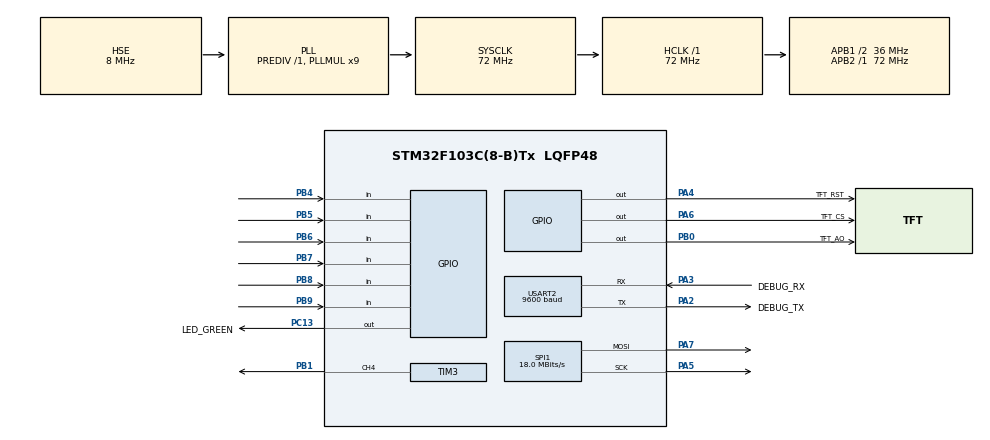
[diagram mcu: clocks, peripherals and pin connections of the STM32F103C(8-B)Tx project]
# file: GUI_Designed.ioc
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Mcu.Family=STM32F1
Mcu.Name=STM32F103C(8-B)Tx
Mcu.Package=LQFP48
NVIC.PriorityGroup=NVIC_PRIORITYGROUP_4
PA13.Mode=Serial_Wire
PA13.Signal=SYS_JTMS-SWDIO
PA14.Mode=Serial_Wire
PA14.Signal=SYS_JTCK-SWCLK
PA2.GPIO_Label=DEBUG_TX
PA2.Mode=Asynchronous
PA2.Signal=USART2_TX
PA3.GPIO_Label=DEBUG_RX
PA3.Mode=Asynchronous
PA3.Signal=USART2_RX
PA4.GPIO_Label=TFT_RST
PA4.GPIO_Speed=GPIO_SPEED_FREQ_HIGH
PA4.Signal=GPIO_Output
PA5.Mode=TX_Only_Simplex_Unidirect_Master
PA5.Signal=SPI1_SCK
PA6.GPIO_Label=TFT_CS
PA6.GPIO_Speed=GPIO_SPEED_FREQ_HIGH
PA6.Signal=GPIO_Output
PA7.Mode=TX_Only_Simplex_Unidirect_Master
PA7.Signal=SPI1_MOSI
PB0.GPIO_Label=TFT_AO
PB0.GPIO_Speed=GPIO_SPEED_FREQ_HIGH
PB0.Signal=GPIO_Output
PB1.Signal=S_TIM3_CH4
PB4.GPIO_PuPd=GPIO_NOPULL
PB4.Signal=GPIO_Input
PB5.GPIO_PuPd=GPIO_NOPULL
PB5.Signal=GPIO_Input
PB6.GPIO_PuPd=GPIO_NOPULL
PB6.Signal=GPIO_Input
PB7.GPIO_PuPd=GPIO_NOPULL
PB7.Signal=GPIO_Input
PB8.GPIO_PuPd=GPIO_NOPULL
PB8.Signal=GPIO_Input
PB9.GPIO_PuPd=GPIO_NOPULL
PB9.Signal=GPIO_Input
PC13-TAMPER-RTC.GPIO_Label=LED_GREEN
PC13-TAMPER-RTC.GPIO_Speed=GPIO_SPEED_FREQ_HIGH
PC13-TAMPER-RTC.Signal=GPIO_Output
PC14-OSC32_IN.Mode=LSE-External-Oscillator
PC14-OSC32_IN.Signal=RCC_OSC32_IN
PC15-OSC32_OUT.Mode=LSE-External-Oscillator
PC15-OSC32_OUT.Signal=RCC_OSC32_OUT
PD0-OSC_IN.Mode=HSE-External-Oscillator
PD0-OSC_IN.Signal=RCC_OSC_IN
PD1-OSC_OUT.Mode=HSE-External-Oscillator
PD1-OSC_OUT.Signal=RCC_OSC_OUT
ProjectManager.HeapSize=0x200
ProjectManager.StackSize=0x400
ProjectManager.TargetToolchain=MDK-ARM V5
RCC.ADCPresc=RCC_ADCPCLK2_DIV6
RCC.AHBFreq_Value=72000000
RCC.APB1CLKDivider=RCC_HCLK_DIV2
RCC.APB1Freq_Value=36000000
RCC.APB1TimFreq_Value=72000000
RCC.APB2Freq_Value=72000000
RCC.APB2TimFreq_Value=72000000
RCC.HCLKFreq_Value=72000000
RCC.PLLMUL=RCC_PLL_MUL9
RCC.PLLSourceVirtual=RCC_PLLSOURCE_HSE
RCC.SYSCLKFreq_VALUE=72000000
RCC.SYSCLKSource=RCC_SYSCLKSOURCE_PLLCLK
RCC.USBFreq_Value=48000000
RCC.USBPrescaler=RCC_USBCLKSOURCE_PLL_DIV1_5
SH.S_TIM3_CH4.0=TIM3_CH4,PWM Generation4 CH4
SPI1.BaudRatePrescaler=SPI_BAUDRATEPRESCALER_4
SPI1.CLKPhase=SPI_PHASE_1EDGE
SPI1.CLKPolarity=SPI_POLARITY_HIGH
SPI1.CalculateBaudRate=18.0 MBits/s
SPI1.Direction=SPI_DIRECTION_2LINES
SPI1.Mode=SPI_MODE_MASTER
SPI1.VirtualType=VM_MASTER
TIM3.Channel-PWM\ Generation4\ CH4=TIM_CHANNEL_4
TIM3.Period=11
TIM3.Prescaler=65535
TIM3.Pulse-PWM\ Generation4\ CH4=11
USART2.BaudRate=9600
USART2.VirtualMode=VM_ASYNC
VP_CRC_VS_CRC.Mode=CRC_Activate
VP_TIM3_VS_ClockSourceINT.Mode=Internal
board=GUI_Designed

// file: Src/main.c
/**
  ******************************************************************************
  * @file           : main.c
  * @brief          : Main program body
  ******************************************************************************
  ** This notice applies to any and all portions of this file
  * that are not between comment pairs USER CODE BEGIN and
  * USER CODE END. Other portions of this file, whether
  * inserted by the user or by software development tools
  * are owned by their respective copyright owners.
  *
  * COPYRIGHT(c) 2018 STMicroelectronics
  *
  * Redistribution and use in source and binary forms, with or without modification,
  * are permitted provided that the following conditions are met:
  *   1. Redistributions of source code must retain the above copyright notice,
  *      this list of conditions and the following disclaimer.
  *   2. Redistributions in binary form must reproduce the above copyright notice,
  *      this list of conditions and the following disclaimer in the documentation
  *      and/or other materials provided with the distribution.
  *   3. Neither the name of STMicroelectronics nor the names of its contributors
  *      may be used to endorse or promote products derived from this software
  *      without specific prior written permission.
  *
  * THIS SOFTWARE IS PROVIDED BY THE COPYRIGHT HOLDERS AND CONTRIBUTORS "AS IS"
  * AND ANY EXPRESS OR IMPLIED WARRANTIES, INCLUDING, BUT NOT LIMITED TO, THE
  * IMPLIED WARRANTIES OF MERCHANTABILITY AND FITNESS FOR A PARTICULAR PURPOSE ARE
  * DISCLAIMED. IN NO EVENT SHALL THE COPYRIGHT HOLDER OR CONTRIBUTORS BE LIABLE
  * FOR ANY DIRECT, INDIRECT, INCIDENTAL, SPECIAL, EXEMPLARY, OR CONSEQUENTIAL
  * DAMAGES (INCLUDING, BUT NOT LIMITED TO, PROCUREMENT OF SUBSTITUTE GOODS OR
  * SERVICES; LOSS OF USE, DATA, OR PROFITS; OR BUSINESS INTERRUPTION) HOWEVER
  * CAUSED AND ON ANY THEORY OF LIABILITY, WHETHER IN CONTRACT, STRICT LIABILITY,
  * OR TORT (INCLUDING NEGLIGENCE OR OTHERWISE) ARISING IN ANY WAY OUT OF THE USE
  * OF THIS SOFTWARE, EVEN IF ADVISED OF THE POSSIBILITY OF SUCH DAMAGE.
  *
  ******************************************************************************
  */
#include "main.h"
#include "stm32f1xx_hal.h"

/* USER CODE BEGIN Includes */
#include "GUI.h"
#include "DIALOG.h"
#include "BSP_Button.h"

/* USER CODE END Includes */

CRC_HandleTypeDef hcrc;
SPI_HandleTypeDef hspi1;
TIM_HandleTypeDef htim3;
UART_HandleTypeDef huart2;
/* USER CODE BEGIN PV */
/* Private variables ---------------------------------------------------------*/

extern GUI_CONST_STORAGE GUI_BITMAP bmSTLogo;
extern GUI_CONST_STORAGE GUI_BITMAP bmSTMLogo;
extern GUI_CONST_STORAGE GUI_BITMAP bmSTM32F1Logo;
/*
extern GUI_CONST_STORAGE GUI_BITMAP bmCOD;
extern GUI_CONST_STORAGE GUI_BITMAP bmAndroidLogo;
*/
/* USER CODE END PV */

void SystemClock_Config(void);
static void MX_GPIO_Init(void);
static void MX_CRC_Init(void);
static void MX_SPI1_Init(void);
static void MX_TIM3_Init(void);
static void MX_USART2_UART_Init(void);

void HAL_TIM_MspPostInit(TIM_HandleTypeDef *htim);

/* USER CODE BEGIN PFP */
/* Private function prototypes -----------------------------------------------*/

/* USER CODE END PFP */

int main(void)
{

  /* MCU Configuration----------------------------------------------------------*/

  /* Reset of all peripherals, Initializes the Flash interface and the Systick. */
  HAL_Init();

  /* Configure the system clock */
  SystemClock_Config();

  /* Initialize all configured peripherals */
  MX_GPIO_Init();
  MX_CRC_Init();
  MX_SPI1_Init();
  MX_TIM3_Init();
  MX_USART2_UART_Init();
  /* USER CODE BEGIN 2 */
    HAL_TIM_Base_Start(&htim3);
    HAL_TIM_PWM_Start(&htim3,TIM_CHANNEL_4);

    __HAL_RCC_CRC_CLK_ENABLE();
    GUI_Init();
    GUI_SetBkColor(GUI_WHITE);
    GUI_SetColor(GUI_BLACK);
    GUI_Clear();

  /* USER CODE END 2 */

  /* Infinite loop */
  while (1)
  {

  /* USER CODE BEGIN 3 */

    GUI_DrawBitmapMag(&bmSTLogo,0,0,1,1);
    HAL_Delay(5000);
    GUI_DrawBitmapMag(&bmSTMLogo,0,0,1,1);
    HAL_Delay(5000);
    GUI_DrawBitmapMag(&bmSTM32F1Logo,0,0,1,1);
    HAL_Delay(5000);
/*
    GUI_DrawBitmapMag(&bmAndroidLogo,0,0,2,2);
    GUI_Delay(5000);
    GUI_DrawBitmapMag(&bmCOD,0,0,2,2);
    HAL_Delay(5000);
*/

  }
  /* USER CODE END 3 */

}

void SystemClock_Config(void)
{

  RCC_OscInitTypeDef RCC_OscInitStruct;
  RCC_ClkInitTypeDef RCC_ClkInitStruct;

    /**Initializes the CPU, AHB and APB busses clocks
    */
  RCC_OscInitStruct.OscillatorType = RCC_OSCILLATORTYPE_HSE;
  RCC_OscInitStruct.HSEState = RCC_HSE_ON;
  RCC_OscInitStruct.HSEPredivValue = RCC_HSE_PREDIV_DIV1;
  RCC_OscInitStruct.HSIState = RCC_HSI_ON;
  RCC_OscInitStruct.PLL.PLLState = RCC_PLL_ON;
  RCC_OscInitStruct.PLL.PLLSource = RCC_PLLSOURCE_HSE;
  RCC_OscInitStruct.PLL.PLLMUL = RCC_PLL_MUL9;
  if (HAL_RCC_OscConfig(&RCC_OscInitStruct) != HAL_OK)
  {
    _Error_Handler(__FILE__, __LINE__);
  }

    /**Initializes the CPU, AHB and APB busses clocks
    */
  RCC_ClkInitStruct.ClockType = RCC_CLOCKTYPE_HCLK|RCC_CLOCKTYPE_SYSCLK
                              |RCC_CLOCKTYPE_PCLK1|RCC_CLOCKTYPE_PCLK2;
  RCC_ClkInitStruct.SYSCLKSource = RCC_SYSCLKSOURCE_PLLCLK;
  RCC_ClkInitStruct.AHBCLKDivider = RCC_SYSCLK_DIV1;
  RCC_ClkInitStruct.APB1CLKDivider = RCC_HCLK_DIV2;
  RCC_ClkInitStruct.APB2CLKDivider = RCC_HCLK_DIV1;

  if (HAL_RCC_ClockConfig(&RCC_ClkInitStruct, FLASH_LATENCY_2) != HAL_OK)
  {
    _Error_Handler(__FILE__, __LINE__);
  }

    /**Configure the Systick interrupt time
    */
  HAL_SYSTICK_Config(HAL_RCC_GetHCLKFreq()/1000);

    /**Configure the Systick
    */
  HAL_SYSTICK_CLKSourceConfig(SYSTICK_CLKSOURCE_HCLK);

  /* SysTick_IRQn interrupt configuration */
  HAL_NVIC_SetPriority(SysTick_IRQn, 0, 0);
}

/* CRC init function */
static void MX_CRC_Init(void)
{

  hcrc.Instance = CRC;
  if (HAL_CRC_Init(&hcrc) != HAL_OK)
  {
    _Error_Handler(__FILE__, __LINE__);
  }

}

/* SPI1 init function */
static void MX_SPI1_Init(void)
{

  /* SPI1 parameter configuration*/
  hspi1.Instance = SPI1;
  hspi1.Init.Mode = SPI_MODE_MASTER;
  hspi1.Init.Direction = SPI_DIRECTION_2LINES;
  hspi1.Init.DataSize = SPI_DATASIZE_8BIT;
  hspi1.Init.CLKPolarity = SPI_POLARITY_HIGH;
  hspi1.Init.CLKPhase = SPI_PHASE_1EDGE;
  hspi1.Init.NSS = SPI_NSS_SOFT;
  hspi1.Init.BaudRatePrescaler = SPI_BAUDRATEPRESCALER_4;
  hspi1.Init.FirstBit = SPI_FIRSTBIT_MSB;
  hspi1.Init.TIMode = SPI_TIMODE_DISABLE;
  hspi1.Init.CRCCalculation = SPI_CRCCALCULATION_DISABLE;
  hspi1.Init.CRCPolynomial = 10;
  if (HAL_SPI_Init(&hspi1) != HAL_OK)
  {
    _Error_Handler(__FILE__, __LINE__);
  }

}

/* TIM3 init function */
static void MX_TIM3_Init(void)
{

  TIM_ClockConfigTypeDef sClockSourceConfig;
  TIM_MasterConfigTypeDef sMasterConfig;
  TIM_OC_InitTypeDef sConfigOC;

  htim3.Instance = TIM3;
  htim3.Init.Prescaler = 65535;
  htim3.Init.CounterMode = TIM_COUNTERMODE_UP;
  htim3.Init.Period = 11;
  htim3.Init.ClockDivision = TIM_CLOCKDIVISION_DIV1;
  htim3.Init.AutoReloadPreload = TIM_AUTORELOAD_PRELOAD_DISABLE;
  if (HAL_TIM_Base_Init(&htim3) != HAL_OK)
  {
    _Error_Handler(__FILE__, __LINE__);
  }

  sClockSourceConfig.ClockSource = TIM_CLOCKSOURCE_INTERNAL;
  if (HAL_TIM_ConfigClockSource(&htim3, &sClockSourceConfig) != HAL_OK)
  {
    _Error_Handler(__FILE__, __LINE__);
  }

  if (HAL_TIM_PWM_Init(&htim3) != HAL_OK)
  {
    _Error_Handler(__FILE__, __LINE__);
  }

  sMasterConfig.MasterOutputTrigger = TIM_TRGO_RESET;
  sMasterConfig.MasterSlaveMode = TIM_MASTERSLAVEMODE_DISABLE;
  if (HAL_TIMEx_MasterConfigSynchronization(&htim3, &sMasterConfig) != HAL_OK)
  {
    _Error_Handler(__FILE__, __LINE__);
  }

  sConfigOC.OCMode = TIM_OCMODE_PWM1;
  sConfigOC.Pulse = 11;
  sConfigOC.OCPolarity = TIM_OCPOLARITY_HIGH;
  sConfigOC.OCFastMode = TIM_OCFAST_DISABLE;
  if (HAL_TIM_PWM_ConfigChannel(&htim3, &sConfigOC, TIM_CHANNEL_4) != HAL_OK)
  {
    _Error_Handler(__FILE__, __LINE__);
  }

  HAL_TIM_MspPostInit(&htim3);

}

/* USART2 init function */
static void MX_USART2_UART_Init(void)
{

  huart2.Instance = USART2;
  huart2.Init.BaudRate = 9600;
  huart2.Init.WordLength = UART_WORDLENGTH_8B;
  huart2.Init.StopBits = UART_STOPBITS_1;
  huart2.Init.Parity = UART_PARITY_NONE;
  huart2.Init.Mode = UART_MODE_TX_RX;
  huart2.Init.HwFlowCtl = UART_HWCONTROL_NONE;
  huart2.Init.OverSampling = UART_OVERSAMPLING_16;
  if (HAL_UART_Init(&huart2) != HAL_OK)
  {
    _Error_Handler(__FILE__, __LINE__);
  }

}

/** Configure pins as
        * Analog
        * Input
        * Output
        * EVENT_OUT
        * EXTI
*/
static void MX_GPIO_Init(void)
{

  GPIO_InitTypeDef GPIO_InitStruct;

  /* GPIO Ports Clock Enable */
  __HAL_RCC_GPIOC_CLK_ENABLE();
  __HAL_RCC_GPIOD_CLK_ENABLE();
  __HAL_RCC_GPIOA_CLK_ENABLE();
  __HAL_RCC_GPIOB_CLK_ENABLE();

  /*Configure GPIO pin Output Level */
  HAL_GPIO_WritePin(LED_GREEN_GPIO_Port, LED_GREEN_Pin, GPIO_PIN_RESET);

  /*Configure GPIO pin Output Level */
  HAL_GPIO_WritePin(GPIOA, TFT_RST_Pin|TFT_CS_Pin, GPIO_PIN_RESET);

  /*Configure GPIO pin Output Level */
  HAL_GPIO_WritePin(TFT_AO_GPIO_Port, TFT_AO_Pin, GPIO_PIN_RESET);

  /*Configure GPIO pin : LED_GREEN_Pin */
  GPIO_InitStruct.Pin = LED_GREEN_Pin;
  GPIO_InitStruct.Mode = GPIO_MODE_OUTPUT_PP;
  GPIO_InitStruct.Speed = GPIO_SPEED_FREQ_HIGH;
  HAL_GPIO_Init(LED_GREEN_GPIO_Port, &GPIO_InitStruct);

  /*Configure GPIO pins : TFT_RST_Pin TFT_CS_Pin */
  GPIO_InitStruct.Pin = TFT_RST_Pin|TFT_CS_Pin;
  GPIO_InitStruct.Mode = GPIO_MODE_OUTPUT_PP;
  GPIO_InitStruct.Speed = GPIO_SPEED_FREQ_HIGH;
  HAL_GPIO_Init(GPIOA, &GPIO_InitStruct);

  /*Configure GPIO pin : TFT_AO_Pin */
  GPIO_InitStruct.Pin = TFT_AO_Pin;
  GPIO_InitStruct.Mode = GPIO_MODE_OUTPUT_PP;
  GPIO_InitStruct.Speed = GPIO_SPEED_FREQ_HIGH;
  HAL_GPIO_Init(TFT_AO_GPIO_Port, &GPIO_InitStruct);

  /*Configure GPIO pins : PB4 PB5 PB6 PB7
                           PB8 PB9 */
  GPIO_InitStruct.Pin = GPIO_PIN_4|GPIO_PIN_5|GPIO_PIN_6|GPIO_PIN_7
                          |GPIO_PIN_8|GPIO_PIN_9;
  GPIO_InitStruct.Mode = GPIO_MODE_INPUT;
  GPIO_InitStruct.Pull = GPIO_NOPULL;
  HAL_GPIO_Init(GPIOB, &GPIO_InitStruct);

}

void _Error_Handler(char *file, int line)
{
  while(1)
  {
  }
}

/************************ (C) COPYRIGHT STMicroelectronics *****END OF FILE****/
